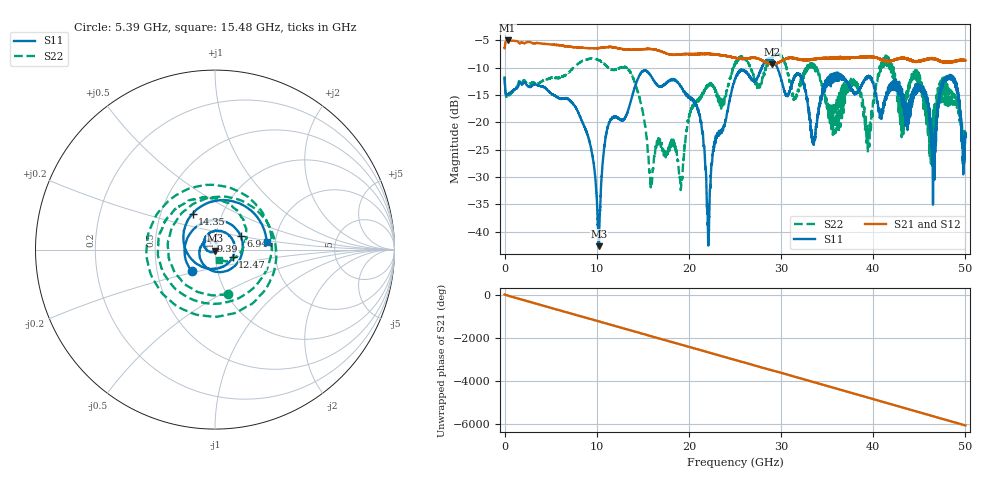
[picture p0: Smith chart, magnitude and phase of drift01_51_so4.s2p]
!Created with skrf (http://scikit-rf.org).
# Hz S RI R 50.0
!freq ReS11 ImS11 ReS21 ImS21 ReS12 ImS12 ReS22 ImS22
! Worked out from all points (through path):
!   10001 points, 300 kHz to 50 GHz, reference 50 ohm
!   highest |S21| = -5.06 dB at 325.3 MHz (marker M1); lowest = -9.4 dB at 29.04 GHz (marker M2)
!   group delay of S21, straight-line fit = 336 ps
!   lowest |S11| = -42.6 dB at 10.24 GHz (marker M3), VSWR 1.01, Z = 50.3 - j0.688 ohm
!   |S11| at or under -10 dB: start of sweep to 27.92 GHz; 29.59 GHz to end of sweep
!   |S22| runs from -32.4 to -7.4 dB; largest |S21 - S12| = 0.015
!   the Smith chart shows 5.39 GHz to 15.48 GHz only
!   S11 on the Smith chart (normalised r, x): 5.39 GHz: 0.75, -0.19; 6.94 GHz: 1.31, +0.20; 9.39 GHz: 0.95, +0.10; 12.47 GHz: 1.21, -0.10; 14.35 GHz: 0.72, +0.31; 15.48 GHz: 1.80, +0.16
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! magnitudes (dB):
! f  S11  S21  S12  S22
! 300 kHz  -11.9  -6.4  -6.5  -11.6
! 325.3 MHz  -15.0  -5.1  -5.1  -15.4
! 5.39 GHz  -15.1  -5.9  -5.9  -11.8
! 6.94 GHz  -15.9  -6.2  -6.2  -11.0
! 8.335 GHz  -19.6  -6.4  -6.4  -8.9
! 9.39 GHz  -24.9  -6.5  -6.5  -8.4
! 10.24 GHz  -42.6  -6.4  -6.4  -8.6
! 12.47 GHz  -19.5  -6.5  -6.5  -10.2
! 14.35 GHz  -12.6  -6.7  -6.7  -13.8
! 15.48 GHz  -10.7  -6.6  -6.6  -23.9
! 16.67 GHz  -13.3  -6.9  -6.9  -23.3
! 19.13 GHz  -13.5  -7.6  -7.6  -32.3
! 20.85 GHz  -16.9  -7.5  -7.5  -16.3
! 22.13 GHz  -41.6  -7.5  -7.5  -13.3
! 25 GHz  -12.1  -8.2  -8.3  -9.6
! 29.04 GHz  -8.6  -9.4  -9.4  -8.1
! 33.34 GHz  -22.8  -8.5  -8.5  -9.5
! 39.48 GHz  -11.6  -8.0  -8.0  -21.5
! 41.67 GHz  -14.0  -8.8  -8.8  -8.8
! 46.56 GHz  -27.6  -8.4  -8.4  -20.8
! 48.52 GHz  -11.6  -8.9  -9.0  -14.8
! 50 GHz  -22.7  -8.8  -8.7  -22.7
